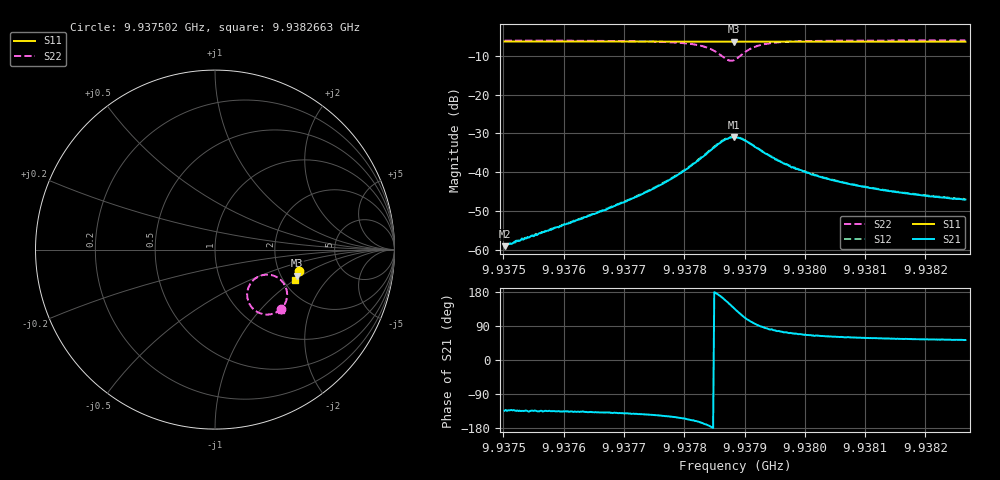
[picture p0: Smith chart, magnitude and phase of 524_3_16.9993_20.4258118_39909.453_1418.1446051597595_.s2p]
#  HZ  S  RI  R  50.00
! Rohde & Schwarz Vector Network Analyzer
! Rohde-Schwarz,ZNB20-2Port,1311601062101988,3.16
! Created: UTC 3/20/2024, 11:15:38 PM
! freq[Hz]  re:S11  im:S11  re:S21  im:S21  re:S12  im:S12  re:S22  im:S22
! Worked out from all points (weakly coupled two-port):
!   401 points, 9.937502 GHz to 9.9382663 GHz, reference 50 ohm
!   highest |S21| = -30.93 dB at 9.9378822 GHz (marker M1); lowest = -59.0 dB at 9.937502 GHz (marker M2)
!   lowest |S11| = -6.4 dB at 9.9378822 GHz (marker M3), VSWR 2.83, Z = 122 - j45.6 ohm
!   |S11| at or under -10 dB: nowhere
!   |S22| runs from -11.3 to -6.1 dB; largest |S21 - S12| = 0.0013
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9.93750196e9  0.4671 -0.1217  -0.000774 -0.000806  -0.000789 -0.000801  0.3704 -0.3304
9.93762999e9  0.4642 -0.1304  -0.00182 -0.00174  -0.00191 -0.00174  0.3544 -0.3426
9.93770261e9  0.4624 -0.1352  -0.00324 -0.00264  -0.00333 -0.00266  0.3385 -0.3515
9.93775803e9  0.4608 -0.139  -0.0056 -0.00372  -0.00576 -0.00369  0.3158 -0.3592
9.93779816e9  0.4594 -0.1417  -0.00923 -0.0045  -0.00949 -0.00438  0.2838 -0.3617
9.93781918e9  0.4584 -0.1432  -0.0127 -0.00437  -0.0131 -0.00412  0.2555 -0.3563
9.93783638e9  0.4577 -0.1442  -0.0168 -0.00295  -0.0173 -0.0025  0.2233 -0.3396
9.93784976e9  0.4567 -0.1449  -0.0209 0.000407  -0.0214 0.000828  0.1954 -0.3084
9.93786313e9  0.4557 -0.145  -0.0242 0.00663  -0.0245 0.00748  0.1792 -0.2532
9.9378746e9  0.4554 -0.1449  -0.0236 0.0146  -0.0236 0.0155  0.1954 -0.193
9.93788224e9  0.4554 -0.1447  -0.0208 0.0194  -0.0204 0.0202  0.2259 -0.16
9.93788415e9  0.4554 -0.1446  -0.0195 0.0201  -0.0194 0.0213  0.2359 -0.1538
9.93789371e9  0.4559 -0.1448  -0.0138 0.0233  -0.0131 0.0241  0.2869 -0.1397
9.93790708e9  0.4563 -0.1455  -0.00609 0.0231  -0.00529 0.0236  0.3459 -0.1541
9.93792811e9  0.4568 -0.1471  0.000676 0.0188  0.00113 0.019  0.3895 -0.1997
9.93796632e9  0.4565 -0.1503  0.00374 0.0123  0.00398 0.0122  0.4018 -0.2561
9.93798161e9  0.4561 -0.1514  0.00393 0.0107  0.00425 0.0108  0.4005 -0.2698
9.93801219e9  0.4552 -0.1538  0.00402 0.00839  0.00425 0.00867  0.396 -0.2883
9.9380657e9  0.454 -0.1573  0.00364 0.0063  0.00378 0.00632  0.3872 -0.3073
9.93814022e9  0.4519 -0.1623  0.00314 0.00477  0.0033 0.0048  0.3778 -0.3222
9.9382052e9  0.4503 -0.1666  0.00288 0.00397  0.00303 0.004  0.3711 -0.3309
9.93826635e9  0.4484 -0.1702  0.00269 0.00354  0.00277 0.00353  0.3659 -0.337
